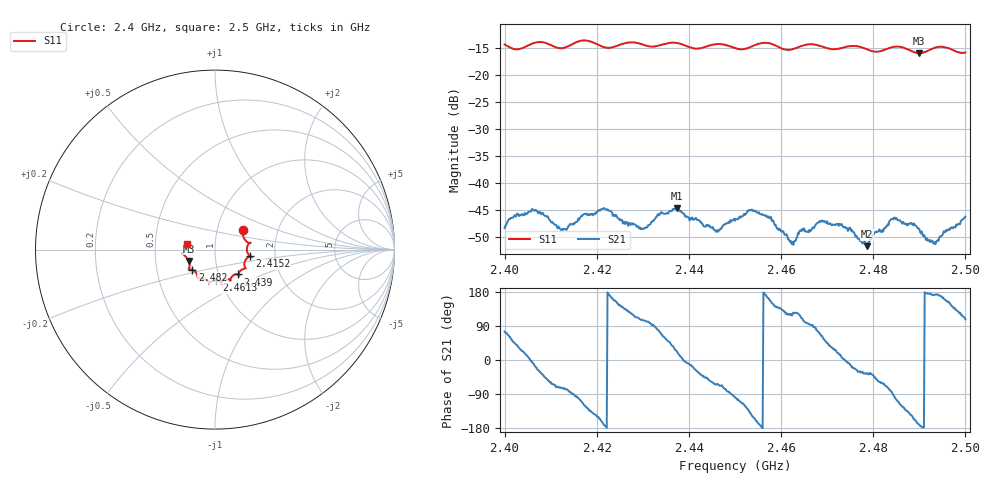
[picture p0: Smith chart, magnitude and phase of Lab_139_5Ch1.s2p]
# Hz S RI R 50
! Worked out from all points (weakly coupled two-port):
!   601 points, 2.4 GHz to 2.5 GHz, reference 50 ohm
!   highest |S21| = -44.55 dB at 2.4373 GHz (marker M1); lowest = -51.6 dB at 2.4787 GHz (marker M2)
!   lowest |S11| = -15.9 dB at 2.49 GHz (marker M3), VSWR 1.38, Z = 37 - j4.85 ohm
!   |S11| at or under -10 dB: start of sweep to end of sweep
!   S12 and S22 are empty: the file has one direction only
!   S11 on the Smith chart (normalised r, x): 2.4 GHz: 1.33, +0.31; 2.4152 GHz: 1.48, -0.11; 2.439 GHz: 1.24, -0.36; 2.4613 GHz: 0.96, -0.34; 2.482 GHz: 0.76, -0.18; 2.5 GHz: 0.72, +0.05
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2.4e9  0.1564 0.1115  0.000975 0.00373  0 0  0 0
2.406333e9  0.1947 0.0368  0.00549 -0.00103  0 0  0 0
2.412333e9  0.1772 0.000551  0.00106 -0.00353  0 0  0 0
2.415167e9  0.1946 -0.0363  -0.000221 -0.00423  0 0  0 0
2.416667e9  0.2042 -0.0422  -0.00166 -0.00475  0 0  0 0
2.421833e9  0.1708 -0.0574  -0.00577 -0.000611  0 0  0 0
2.43e9  0.1588 -0.108  -0.00098 0.00365  0 0  0 0
2.433333e9  0.1327 -0.1318  0.00104 0.0051  0 0  0 0
2.437333e9  0.1357 -0.1451  0.00542 0.00239  0 0  0 0
2.439e9  0.1288 -0.1386  0.0052 -0.000301  0 0  0 0
2.446e9  0.0856 -0.1738  0.00149 -0.00325  0 0  0 0
2.45e9  0.0689 -0.164  -0.000704 -0.00446  0 0  0 0
2.454167e9  0.0349 -0.185  -0.00506 -0.00247  0 0  0 0
2.461333e9  0.00764 -0.1712  -0.0017 0.00281  0 0  0 0
2.466667e9  -0.0337 -0.1902  -0.000131 0.00375  0 0  0 0
2.472667e9  -0.0737 -0.1602  0.0041 0.00104  0 0  0 0
2.478667e9  -0.0991 -0.1417  0.00215 -0.0015  0 0  0 0
2.482e9  -0.1262 -0.1121  0.00183 -0.00324  0 0  0 0
2.483333e9  -0.1391 -0.1102  0.00108 -0.00396  0 0  0 0
2.49e9  -0.1463 -0.0639  -0.00374 -0.000584  0 0  0 0
2.4935e9  -0.1783 -0.0255  -0.00271 0.000341  0 0  0 0
2.5e9  -0.1587 0.0329  -0.00146 0.00468  0 0  0 0
